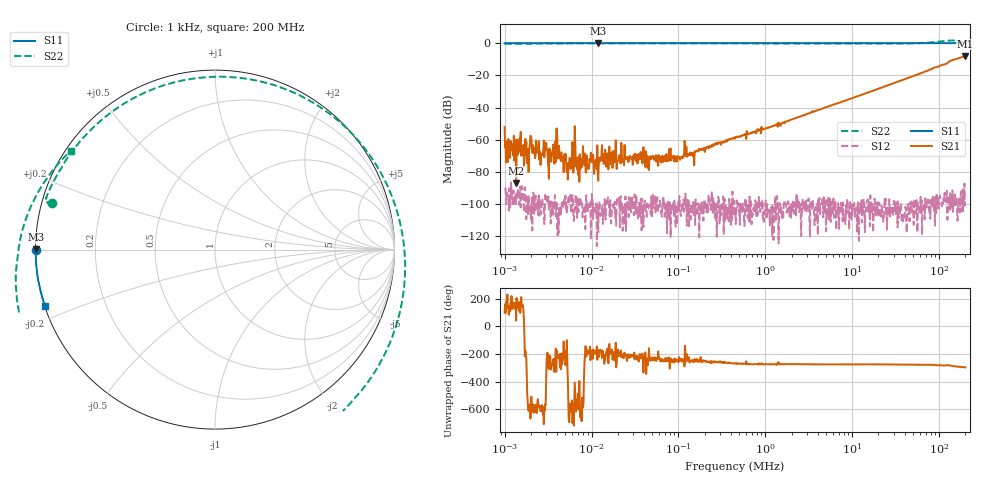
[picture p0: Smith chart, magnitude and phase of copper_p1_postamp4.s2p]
! ListType=Log
# MHZ S RI R 50
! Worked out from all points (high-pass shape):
!   1000 points, 1 kHz to 200 MHz, reference 50 ohm
!   highest |S21| = -8.01 dB at 200 MHz (marker M1); lowest = -86.9 dB at 1.357 kHz (marker M2)
!   |S21| within 3 dB of the highest: 134.6 MHz to end of sweep
!   lowest |S11| = 0.0 dB at 11.95 kHz (marker M3), VSWR 375.32, Z = 0.133 + j0.0302 ohm
!   |S11| at or under -10 dB: nowhere
!   |S22| runs from -0.5 to 1.7 dB; largest |S21 - S12| = 0.4
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0.001  -0.9974 -0.000379  -0.000403 0.00246  -1.15e-05 -2.99e-05  -0.9089 0.26
0.0010893  -0.9976 -1.64e-05  -0.000138 0.000149  1.98e-05 -3.7e-06  -0.9111 0.2599
0.0013572  -0.9981 -0.000378  3.39e-05 3e-05  1.87e-05 7.7e-06  -0.9164 0.2577
0.0014784  -0.9976 -0.000307  -0.000213 0.000365  -4.9e-06 8.2e-06  -0.9179 0.2569
0.0017758  -0.9978 -0.000421  -0.000577 0.000632  -1.8e-06 -2.9e-06  -0.9228 0.2575
0.0020313  -0.998 -0.000361  -0.000942 -0.00061  7.2e-06 7.6e-06  -0.9262 0.2582
0.0033522  -0.9977 -0.000143  -0.000371 0.000293  -1.09e-05 -5.7e-06  -0.936 0.2644
0.0040265  -0.9979 -0.000445  -0.00135 0.000296  0 1.4e-06  -0.9383 0.2668
0.0050786  -0.9978 -0.000276  -0.000146 0.000244  6.2e-06 1.1e-06  -0.9403 0.2704
0.0061751  -0.9978 -0.000326  -9.05e-05 3.08e-05  3e-07 4.9e-06  -0.9413 0.2731
0.0076941  -0.998 -0.000182  0.000114 8.07e-05  -2.1e-06 8.4e-06  -0.9422 0.2759
0.011945  -0.9947 0.0012  -5.31e-05 7.4e-06  -1.2e-06 6e-07  -0.9435 0.2782
0.0584804  -0.9979 -0.000172  -0.000156 1.1e-06  1.1e-06 -7.5e-06  -0.9406 0.2882
0.4499541  -0.9979 -0.000821  -6.16e-05 0.00115  1.8e-06 7.1e-06  -0.9349 0.303
3.419952  -0.9982 -0.00584  0.000461 0.00754  -1.8e-06 -7.2e-06  -0.8867 0.4028
26.31347  -0.998 -0.0431  0.00374 0.0502  3.6e-06 -3.5e-06  -0.3118 0.9064
50.9003  -0.9959 -0.0826  0.00986 0.095  -1e-07 -2.3e-06  0.4925 0.8486
81.97236  -0.9908 -0.1323  0.0208 0.1554  5.3e-06 -7.1e-06  1.057 -0.0223
103.3922  -0.9853 -0.1663  0.0342 0.1984  -9.6e-06 -1.12e-05  0.8402 -0.7545
128.8255  -0.977 -0.2064  0.0473 0.2569  -1.25e-05 -1.01e-05  0.0311 -1.195
164.4859  -0.9631 -0.2619  0.1186 0.3132  4.6e-06 -3.3e-06  -1.028 -0.5582
200  -0.947 -0.3167  0.1722 0.3582  -1.29e-05 -6.6e-06  -0.8026 0.5506
